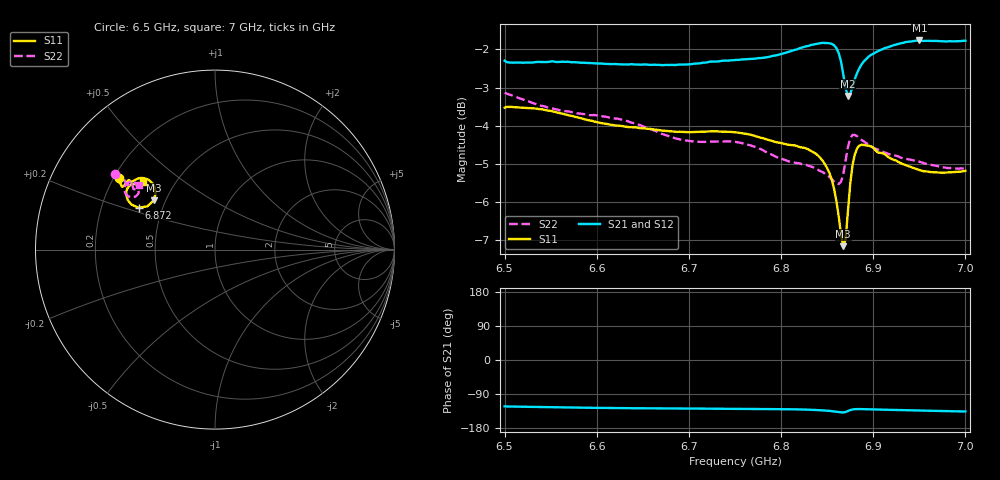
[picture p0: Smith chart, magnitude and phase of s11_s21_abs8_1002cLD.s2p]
! MS46122B
! 1919307/90821646
! 7/29/2022 2:33:05 PM
! C:\USERS\PC_\DESKTOP\MEDICIONES\BANCHA ESTRECHA\65_7GHZ\S11_S21_ABS8_1002CL.S2P
! CHANNEL.1
! TR.MEASUREMENT
! CORRECTED.DATA
# GHZ S RI R 50.0
! FREQ.GHZ  S11RE  S11IM  S21RE  S21IM  S12RE  S12IM  S22RE  S22IM
!; PortSelection: Port_12
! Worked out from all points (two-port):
!   201 points, 6.5 GHz to 7 GHz, reference 50 ohm
!   highest |S21| = -1.76 dB at 6.95 GHz (marker M1); lowest = -3.2 dB at 6.872 GHz (marker M2)
!   |S21| within 3 dB of the highest: start of sweep to end of sweep
!   lowest |S11| = -7.2 dB at 6.867 GHz (marker M3), VSWR 2.56, Z = 21.5 + j14.6 ohm
!   |S11| at or under -10 dB: nowhere
!   |S22| runs from -5.5 to -3.1 dB; largest |S21 - S12| = 0.012
!   S11 on the Smith chart (normalised r, x): 6.5 GHz: 0.22, +0.32; 6.872 GHz: 0.37, +0.22; 7 GHz: 0.33, +0.36
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6.5  -0.5342 0.3976  -0.4096 -0.6493  -0.4051 -0.6479  -0.5569 0.4188
6.5475  -0.5399 0.3797  -0.4316 -0.6316  -0.4244 -0.6404  -0.535 0.3968
6.585  -0.5274 0.3696  -0.4468 -0.6186  -0.4442 -0.6269  -0.5176 0.3989
6.6225  -0.521 0.3562  -0.4563 -0.6073  -0.455 -0.6125  -0.5075 0.3974
6.6675  -0.5139 0.3511  -0.4643 -0.5994  -0.4645 -0.6025  -0.4959 0.3674
6.7  -0.5001 0.364  -0.4685 -0.5977  -0.4699 -0.6006  -0.4836 0.3589
6.75  -0.4821 0.3872  -0.485 -0.5972  -0.4843 -0.598  -0.4694 0.375
6.8025  -0.4623 0.3786  -0.5013 -0.6034  -0.4987 -0.6021  -0.456 0.3415
6.835  -0.4268 0.396  -0.5356 -0.6023  -0.5332 -0.6007  -0.4421 0.3374
6.85  -0.3884 0.3962  -0.5597 -0.5854  -0.5575 -0.5834  -0.4288 0.3332
6.8575  -0.3577 0.379  -0.5746 -0.5629  -0.5713 -0.561  -0.4254 0.3208
6.8625  -0.3348 0.3436  -0.5785 -0.5321  -0.5745 -0.5306  -0.4316 0.3056
6.8675  -0.3422 0.2737  -0.5505 -0.4896  -0.5471 -0.4879  -0.461 0.2905
6.87  -0.3768 0.2412  -0.5187 -0.4799  -0.5151 -0.4784  -0.4835 0.2962
6.8725  -0.4253 0.2334  -0.4857 -0.4903  -0.4824 -0.4886  -0.5005 0.3147
6.875  -0.465 0.2504  -0.4659 -0.5147  -0.4627 -0.5125  -0.5044 0.338
6.8775  -0.4867 0.2764  -0.4608 -0.5395  -0.4576 -0.5369  -0.4998 0.3556
6.8825  -0.4946 0.3199  -0.4705 -0.571  -0.4671 -0.5677  -0.4835 0.3734
6.895  -0.4724 0.3596  -0.5008 -0.5945  -0.4957 -0.59  -0.4583 0.3804
6.9175  -0.442 0.3639  -0.5312 -0.5995  -0.5239 -0.5963  -0.4433 0.3718
6.95  -0.4147 0.3637  -0.5638 -0.5902  -0.5528 -0.59  -0.4347 0.362
7  -0.4023 0.3753  -0.5848 -0.5684  -0.5747 -0.5693  -0.4213 0.3599
